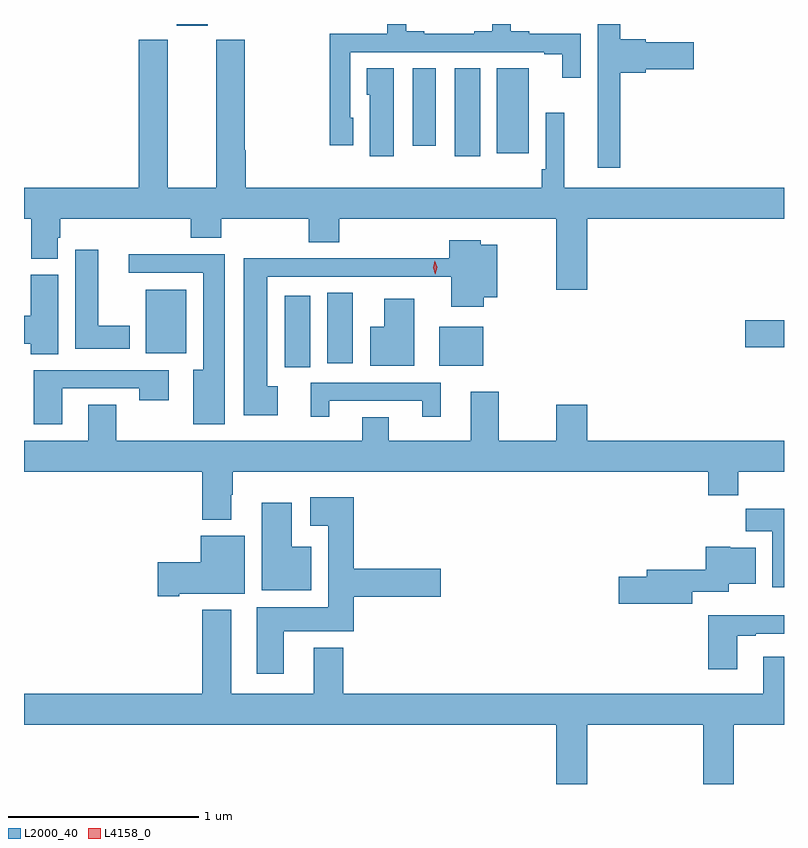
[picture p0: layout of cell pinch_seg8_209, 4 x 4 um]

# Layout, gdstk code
import gdstk
lib = gdstk.Library(unit=1e-6, precision=1e-09)
def R(c, l, rs):  # rectangles x0, y0, x1, y1
    for r in rs: c.add(gdstk.rectangle(r[:2], r[2:], *l))
def P(c, l, *ps):  # polygons
    for p in ps: c.add(gdstk.Polygon(p, *l))
L2000_40 = (2000, 40)
L4158_0 = (4158, 0)

pinch_seg8_209 = lib.new_cell('pinch_seg8_209')
R(pinch_seg8_209, L2000_40, [(631.112,1105.062,631.246,1105.438), (631.925,1105.07,632.155,1105.276), (631.334,1105.083,631.468,1105.454), (630.38,1105.136,630.592,1105.471), (633.534,1105.168,633.739,1105.31), (632.006,1106.172,632.14,1106.636), (632.228,1106.19,632.395,1106.636), (631.784,1106.229,631.906,1106.636), (630.542,1106.859,630.706,1106.869)])
P(pinch_seg8_209, L2000_40, [(631.471,1106.376),(631.455,1106.376),(631.455,1106.721),(632.477,1106.721),(632.477,1106.709),(632.573,1106.709),(632.573,1106.586),(632.67,1106.586),(632.67,1106.817),(632.398,1106.817),(632.398,1106.83),(632.302,1106.83),(632.302,1106.869),(632.204,1106.869),(632.204,1106.83),(632.108,1106.83),(632.108,1106.817),(631.846,1106.817),(631.846,1106.83),(631.75,1106.83),(631.75,1106.869),(631.652,1106.869),(631.652,1106.817),(631.347,1106.817),(631.347,1106.232),(631.471,1106.232)],
  [(632.876,1106.612),(633.012,1106.612),(633.012,1106.63),(633.265,1106.63),(633.265,1106.772),(633.012,1106.772),(633.012,1106.79),(632.876,1106.79),(632.876,1106.869),(632.76,1106.869),(632.76,1106.528),(632.759,1106.528),(632.759,1106.112),(632.876,1106.112)],
  [(632.704,1105.844),(633.739,1105.844),(633.739,1106.008),(632.582,1106.008),(632.582,1106.401),(632.484,1106.401),(632.484,1106.104),(632.464,1106.104),(632.464,1106.008),(630.905,1106.008),(630.905,1106.204),(630.9,1106.204),(630.9,1106.787),(630.752,1106.787),(630.752,1106.008),(630.496,1106.008),(630.496,1106.787),(630.344,1106.787),(630.344,1106.008),(629.739,1106.008),(629.739,1105.844),(629.777,1105.844),(629.777,1105.633),(629.917,1105.633),(629.917,1105.743),(629.93,1105.743),(629.93,1105.844),(630.617,1105.844),(630.617,1105.745),(630.777,1105.745),(630.777,1105.844),(631.237,1105.844),(631.237,1105.72),(631.397,1105.72),(631.397,1105.844),(632.54,1105.844),(632.54,1105.47),(632.704,1105.47)],
  [(631.684,1106.636),(631.544,1106.636),(631.544,1106.496),(631.559,1106.496),(631.559,1106.172),(631.684,1106.172)],
  [(631.075,1104.962),(631.018,1104.962),(631.018,1105.539),(631.988,1105.539),(631.988,1105.38),(632.159,1105.38),(632.159,1105.43),(632.23,1105.43),(632.23,1105.708),(632.142,1105.708),(632.142,1105.732),(631.976,1105.732),(631.976,1105.637),(631.48,1105.637),(631.48,1105.635),(631.114,1105.635),(631.114,1105.637),(630.896,1105.637),(630.896,1104.809),(631.075,1104.809)],
  [(630.295,1105.282),(630.13,1105.282),(630.13,1105.681),(630.008,1105.681),(630.008,1105.16),(630.295,1105.16)],
  [(630.796,1105.658),(630.291,1105.658),(630.291,1105.56),(630.683,1105.56),(630.683,1105.048),(630.629,1105.048),(630.629,1104.762),(630.796,1104.762)],
  [(629.92,1105.548),(629.774,1105.548),(629.774,1105.334),(629.739,1105.334),(629.739,1105.187),(629.774,1105.187),(629.774,1105.132),(629.92,1105.132)],
  [(631.792,1105.423),(631.634,1105.423),(631.634,1105.276),(631.562,1105.276),(631.562,1105.07),(631.792,1105.07)],
  [(629.941,1104.951),(630.346,1104.951),(630.346,1104.888),(630.502,1104.888),(630.502,1105.047),(629.789,1105.047),(629.789,1104.762),(629.941,1104.762)],
  [(631.345,1104.885),(631.835,1104.885),(631.835,1104.801),(631.933,1104.801),(631.933,1104.981),(631.247,1104.981),(631.247,1104.801),(631.345,1104.801)],
  [(630.829,1104.392),(630.837,1104.392),(630.837,1104.512),(633.341,1104.512),(633.341,1104.388),(633.497,1104.388),(633.497,1104.512),(633.739,1104.512),(633.739,1104.676),(632.704,1104.676),(632.704,1104.865),(632.54,1104.865),(632.54,1104.676),(632.238,1104.676),(632.238,1104.934),(632.09,1104.934),(632.09,1104.676),(631.66,1104.676),(631.66,1104.8),(631.52,1104.8),(631.52,1104.676),(630.225,1104.676),(630.225,1104.866),(630.077,1104.866),(630.077,1104.676),(629.739,1104.676),(629.739,1104.512),(630.677,1104.512),(630.677,1104.26),(630.829,1104.26)],
  [(631.105,1103.672),(631.475,1103.672),(631.475,1103.855),(631.933,1103.855),(631.933,1104.002),(631.475,1104.002),(631.475,1104.379),(631.245,1104.379),(631.245,1104.227),(631.34,1104.227),(631.34,1103.8),(630.965,1103.8),(630.965,1103.448),(631.105,1103.448)],
  [(631.252,1104.118),(631.147,1104.118),(631.147,1104.349),(630.989,1104.349),(630.989,1103.888),(631.252,1103.888)],
  [(633.739,1104.319),(633.538,1104.319),(633.538,1104.2),(633.677,1104.2),(633.677,1103.904),(633.739,1103.904)],
  [(630.556,1103.87),(630.901,1103.87),(630.901,1104.175),(630.668,1104.175),(630.668,1104.036),(630.444,1104.036),(630.444,1103.858),(630.556,1103.858)],
  [(633.256,1103.88),(633.448,1103.88),(633.448,1103.924),(633.589,1103.924),(633.589,1104.112),(633.456,1104.112),(633.456,1104.118),(633.326,1104.118),(633.326,1103.996),(633.017,1103.996),(633.017,1103.96),(632.868,1103.96),(632.868,1103.818),(633.256,1103.818)],
  [(632.704,1103.18),(633.314,1103.18),(633.314,1102.869),(633.474,1102.869),(633.474,1103.18),(633.739,1103.18),(633.739,1103.539),(633.629,1103.539),(633.629,1103.344),(631.418,1103.344),(631.418,1103.587),(631.265,1103.587),(631.265,1103.344),(630.829,1103.344),(630.829,1103.785),(630.677,1103.785),(630.677,1103.344),(629.739,1103.344),(629.739,1103.18),(632.54,1103.18),(632.54,1102.869),(632.704,1102.869)],
  [(633.493,1103.649),(633.589,1103.649),(633.589,1103.661),(633.739,1103.661),(633.739,1103.758),(633.341,1103.758),(633.341,1103.472),(633.493,1103.472)])
P(pinch_seg8_209, L4158_0, [(631.904,1105.552),(631.904,1105.552),(631.893,1105.587),(631.902,1105.623),(631.902,1105.623),(631.902,1105.623),(631.913,1105.588),(631.904,1105.552)])

lib.write_gds('pinch_seg8_209.gds')
